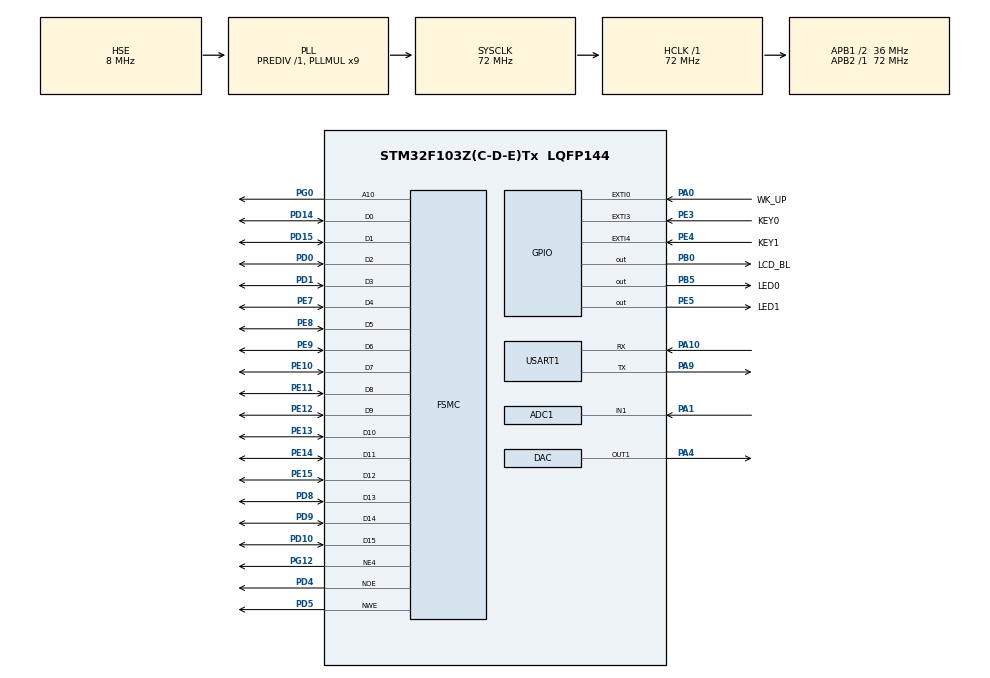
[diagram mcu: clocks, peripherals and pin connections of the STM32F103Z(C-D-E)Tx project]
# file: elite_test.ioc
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ADC1.Channel-1\#ChannelRegularConversion=ADC_CHANNEL_1
ADC1.ContinuousConvMode=DISABLE
ADC1.EnableInjectedConversion=DISABLE
ADC1.ExternalTrigConv=ADC_EXTERNALTRIGCONV_T3_TRGO
ADC1.InjNumberOfConversion=1
ADC1.NbrOfConversionFlag=1
ADC1.Rank-1\#ChannelRegularConversion=1
ADC1.SamplingTime-1\#ChannelRegularConversion=ADC_SAMPLETIME_1CYCLE_5
ADC1.master=1
Dma.ADC1.1.Direction=DMA_PERIPH_TO_MEMORY
Dma.ADC1.1.Instance=DMA1_Channel1
Dma.ADC1.1.MemDataAlignment=DMA_MDATAALIGN_WORD
Dma.ADC1.1.MemInc=DMA_MINC_ENABLE
Dma.ADC1.1.Mode=DMA_NORMAL
Dma.ADC1.1.PeriphDataAlignment=DMA_PDATAALIGN_HALFWORD
Dma.ADC1.1.PeriphInc=DMA_PINC_DISABLE
Dma.ADC1.1.Priority=DMA_PRIORITY_VERY_HIGH
Dma.DAC_CH1.2.Direction=DMA_MEMORY_TO_PERIPH
Dma.DAC_CH1.2.Instance=DMA2_Channel3
Dma.DAC_CH1.2.MemDataAlignment=DMA_MDATAALIGN_HALFWORD
Dma.DAC_CH1.2.MemInc=DMA_MINC_ENABLE
Dma.DAC_CH1.2.Mode=DMA_CIRCULAR
Dma.DAC_CH1.2.PeriphDataAlignment=DMA_PDATAALIGN_HALFWORD
Dma.DAC_CH1.2.PeriphInc=DMA_PINC_DISABLE
Dma.DAC_CH1.2.Priority=DMA_PRIORITY_LOW
Dma.Request0=USART1_RX
Dma.Request1=ADC1
Dma.Request2=DAC_CH1
Dma.USART1_RX.0.Direction=DMA_PERIPH_TO_MEMORY
Dma.USART1_RX.0.Instance=DMA1_Channel5
Dma.USART1_RX.0.MemDataAlignment=DMA_MDATAALIGN_BYTE
Dma.USART1_RX.0.MemInc=DMA_MINC_ENABLE
Dma.USART1_RX.0.Mode=DMA_CIRCULAR
Dma.USART1_RX.0.PeriphDataAlignment=DMA_PDATAALIGN_BYTE
Dma.USART1_RX.0.PeriphInc=DMA_PINC_DISABLE
Dma.USART1_RX.0.Priority=DMA_PRIORITY_LOW
FSMC.AddressSetupTime1=0x06
FSMC.BusTurnAroundDuration1=0
FSMC.DataSetupTime1=26
FSMC.ExtendedAddressSetupTime1=3
FSMC.ExtendedBusTurnAroundDuration1=0
FSMC.ExtendedDataSetupTime1=0x06
FSMC.ExtendedMode1=FSMC_EXTENDED_MODE_ENABLE
Mcu.Family=STM32F1
Mcu.Name=STM32F103Z(C-D-E)Tx
Mcu.Package=LQFP144
NVIC.DMA1_Channel1_IRQn=true\:0\:0\:false\:false\:true\:false\:true\:true
NVIC.DMA1_Channel5_IRQn=true\:0\:0\:false\:false\:true\:false\:true\:true
NVIC.DMA2_Channel3_IRQn=true\:0\:0\:false\:false\:true\:false\:true\:true
NVIC.EXTI0_IRQn=true\:0\:0\:false\:false\:true\:true\:true\:true
NVIC.EXTI3_IRQn=true\:0\:0\:false\:false\:true\:true\:true\:true
NVIC.EXTI4_IRQn=true\:0\:0\:false\:false\:true\:true\:true\:true
NVIC.PriorityGroup=NVIC_PRIORITYGROUP_4
NVIC.TIM6_IRQn=true\:0\:0\:false\:false\:true\:true\:true\:true
NVIC.USART1_IRQn=true\:0\:0\:false\:false\:true\:true\:true\:true
OSC_IN.Mode=HSE-External-Oscillator
OSC_IN.Signal=RCC_OSC_IN
OSC_OUT.Mode=HSE-External-Oscillator
OSC_OUT.Signal=RCC_OSC_OUT
PA0-WKUP.GPIO_Label=WK_UP
PA0-WKUP.GPIO_PuPd=GPIO_PULLDOWN
PA0-WKUP.Signal=GPXTI0
PA1.Signal=ADCx_IN1
PA10.Mode=Asynchronous
PA10.Signal=USART1_RX
PA4.Signal=COMP_DAC1_group
PA9.Mode=Asynchronous
PA9.Signal=USART1_TX
PB0.GPIO_Label=LCD_BL
PB0.GPIO_PuPd=GPIO_PULLUP
PB0.GPIO_Speed=GPIO_SPEED_FREQ_HIGH
PB0.Signal=GPIO_Output
PB5.GPIO_Label=LED0
PB5.GPIO_PuPd=GPIO_PULLUP
PB5.GPIO_Speed=GPIO_SPEED_FREQ_HIGH
PB5.PinState=GPIO_PIN_SET
PB5.Signal=GPIO_Output
PC14-OSC32_IN.Mode=LSE-External-Clock-Source
PC14-OSC32_IN.Signal=RCC_OSC32_IN
PC15-OSC32_OUT.Mode=LSE-External-Clock-Source
PC15-OSC32_OUT.Signal=RCC_OSC32_OUT
PD0.Signal=FSMC_D2_DA2
PD1.Signal=FSMC_D3_DA3
PD10.Signal=FSMC_D15_DA15
PD14.Signal=FSMC_D0_DA0
PD15.Signal=FSMC_D1_DA1
PD4.Signal=FSMC_NOE
PD5.Signal=FSMC_NWE
PD8.Signal=FSMC_D13_DA13
PD9.Signal=FSMC_D14_DA14
PE10.Signal=FSMC_D7_DA7
PE11.Signal=FSMC_D8_DA8
PE12.Signal=FSMC_D9_DA9
PE13.Signal=FSMC_D10_DA10
PE14.Signal=FSMC_D11_DA11
PE15.Signal=FSMC_D12_DA12
PE3.GPIO_Label=KEY0
PE3.GPIO_PuPd=GPIO_PULLUP
PE3.Signal=GPXTI3
PE4.GPIO_Label=KEY1
PE4.GPIO_PuPd=GPIO_PULLUP
PE4.Signal=GPXTI4
PE5.GPIO_Label=LED1
PE5.GPIO_PuPd=GPIO_PULLUP
PE5.GPIO_Speed=GPIO_SPEED_FREQ_HIGH
PE5.PinState=GPIO_PIN_SET
PE5.Signal=GPIO_Output
PE7.Signal=FSMC_D4_DA4
PE8.Signal=FSMC_D5_DA5
PE9.Signal=FSMC_D6_DA6
PG0.Signal=FSMC_A10
PG12.Mode=NorPsramChipSelect4_1
PG12.Signal=FSMC_NE4
ProjectManager.HeapSize=0x200
ProjectManager.StackSize=0x400
ProjectManager.TargetToolchain=MDK-ARM V5
RCC.ADCPresc=RCC_ADCPCLK2_DIV6
RCC.AHBFreq_Value=72000000
RCC.APB1CLKDivider=RCC_HCLK_DIV2
RCC.APB1Freq_Value=36000000
RCC.APB1TimFreq_Value=72000000
RCC.APB2Freq_Value=72000000
RCC.APB2TimFreq_Value=72000000
RCC.HCLKFreq_Value=72000000
RCC.PLLMUL=RCC_PLL_MUL9
RCC.PLLSourceVirtual=RCC_PLLSOURCE_HSE
RCC.SYSCLKFreq_VALUE=72000000
RCC.SYSCLKSource=RCC_SYSCLKSOURCE_PLLCLK
RCC.USBFreq_Value=72000000
SH.ADCx_IN1.0=ADC1_IN1,IN1
SH.COMP_DAC1_group.0=DAC_OUT1,DAC_OUT1
SH.FSMC_A10.0=FSMC_A10,A10_1
SH.FSMC_D0_DA0.0=FSMC_D0,16b-d1
SH.FSMC_D10_DA10.0=FSMC_D10,16b-d1
SH.FSMC_D11_DA11.0=FSMC_D11,16b-d1
SH.FSMC_D12_DA12.0=FSMC_D12,16b-d1
SH.FSMC_D13_DA13.0=FSMC_D13,16b-d1
SH.FSMC_D14_DA14.0=FSMC_D14,16b-d1
SH.FSMC_D15_DA15.0=FSMC_D15,16b-d1
SH.FSMC_D1_DA1.0=FSMC_D1,16b-d1
SH.FSMC_D2_DA2.0=FSMC_D2,16b-d1
SH.FSMC_D3_DA3.0=FSMC_D3,16b-d1
SH.FSMC_D4_DA4.0=FSMC_D4,16b-d1
SH.FSMC_D5_DA5.0=FSMC_D5,16b-d1
SH.FSMC_D6_DA6.0=FSMC_D6,16b-d1
SH.FSMC_D7_DA7.0=FSMC_D7,16b-d1
SH.FSMC_D8_DA8.0=FSMC_D8,16b-d1
SH.FSMC_D9_DA9.0=FSMC_D9,16b-d1
SH.FSMC_NOE.0=FSMC_NOE,Lcd1
SH.FSMC_NWE.0=FSMC_NWE,Lcd1
TIM3.AutoReloadPreload=TIM_AUTORELOAD_PRELOAD_ENABLE
TIM3.Period=1000-1
TIM3.Prescaler=28-1
TIM3.TIM_MasterOutputTrigger=TIM_TRGO_UPDATE
TIM6.AutoReloadPreload=TIM_AUTORELOAD_PRELOAD_ENABLE
TIM6.Period=1000-1
TIM6.Prescaler=72-1
TIM7.Period=65535
TIM7.Prescaler=72-1
USART1.VirtualMode=VM_ASYNC
VP_SYS_VS_ND.Mode=No_Debug
VP_TIM3_VS_ClockSourceINT.Mode=Internal
VP_TIM6_VS_ClockSourceINT.Mode=Enable_Timer
VP_TIM7_VS_ClockSourceINT.Mode=Enable_Timer
board=custom

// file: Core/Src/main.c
/* USER CODE BEGIN Header */
/**
  ******************************************************************************
  * @file           : main.c
  * @brief          : Main program body
  ******************************************************************************
  * @attention
  *
  * Copyright (c) 2023 STMicroelectronics.
  * All rights reserved.
  *
  * This software is licensed under terms that can be found in the LICENSE file
  * in the root directory of this software component.
  * If no LICENSE file comes with this software, it is provided AS-IS.
  *
  ******************************************************************************
  */
/* USER CODE END Header */
#include "main.h"
#include "adc.h"
#include "dac.h"
#include "dma.h"
#include "tim.h"
#include "usart.h"
#include "gpio.h"
#include "fsmc.h"

/* USER CODE BEGIN PV */
uint32_t F=10000000;  		// 设置正弦波的频率（1~100MHz）
uint16_t A=4095;			// 设置正弦波的幅度（0~4095）        816为100mV输出

key_t Key0, Key1, Key2;
extern int dacval;
/* USER CODE END PV */

void SystemClock_Config(void);

int main(void)
{

  /* MCU Configuration--------------------------------------------------------*/

  /* Reset of all peripherals, Initializes the Flash interface and the Systick. */
  HAL_Init();

  /* Configure the system clock */
  SystemClock_Config();

  /* Initialize all configured peripherals */
  MX_GPIO_Init();
  MX_DMA_Init();
  MX_TIM6_Init();
  MX_TIM7_Init();
  MX_USART1_UART_Init();
  MX_FSMC_Init();
  MX_ADC1_Init();
  MX_DAC_Init();
  MX_TIM3_Init();
  /* USER CODE BEGIN 2 */

	Key0.keyFlag = 0;
	Key1.keyFlag = 0;
	Key2.keyFlag = 0;
	Key0.keyState = KEY_COMFIRM;
	Key1.keyState = KEY_CHECK;
	Key2.keyState = KEY_CHECK;

	HAL_TIM_Base_Start(&htim3);
	HAL_TIM_Base_Start_IT(&htim6);

	HAL_ADCEx_Calibration_Start(&hadc1);
	HAL_ADC_Start(&hadc1);
	HAL_DAC_Start(&hdac,DAC_CHANNEL_1);  			//开启DAC通道1
	HAL_DAC_SetValue(&hdac,DAC_CHANNEL_1,DAC_ALIGN_12B_R,dacval);//初始值为0

	GPIO_AD9854_Configuration(); // AD9854IO口初始化
	delay_ms(5);
	AD9854_Init ();
	AD9851_Init(1, 1);
	AD9851_Setfq(10000);
//	AD9854_SetSine(F, A);
	double Fre_test = 10000000.000;
	AD9854_SetSine_double(Fre_test, 4095);
//	AD9851_Init ();
//	delay_ms(5);
//	AD9851_Setfq(7000000);

//	delay_ms(10);
//	AD9954_Init();
//	AD9954_SETFRE(10000);
//	Write_ASF(0x300);

	LCD_Init();
//	tp_dev.init();

	LCD_Clear(WHITE);	//清屏
//	TP_Adjust();  		//屏幕校准

  /* USER CODE END 2 */

  /* Infinite loop */
  /* USER CODE BEGIN WHILE */
//	printf("初始化完成");

	while (1)
  {
//		tp_dev.scan(0);
		delay_ms(5);
    /* USER CODE END WHILE */

  }
}

void SystemClock_Config(void)
{
  RCC_OscInitTypeDef RCC_OscInitStruct = {0};
  RCC_ClkInitTypeDef RCC_ClkInitStruct = {0};
  RCC_PeriphCLKInitTypeDef PeriphClkInit = {0};

  /** Initializes the RCC Oscillators according to the specified parameters
  * in the RCC_OscInitTypeDef structure.
  */
  RCC_OscInitStruct.OscillatorType = RCC_OSCILLATORTYPE_HSE;
  RCC_OscInitStruct.HSEState = RCC_HSE_ON;
  RCC_OscInitStruct.HSEPredivValue = RCC_HSE_PREDIV_DIV1;
  RCC_OscInitStruct.HSIState = RCC_HSI_ON;
  RCC_OscInitStruct.PLL.PLLState = RCC_PLL_ON;
  RCC_OscInitStruct.PLL.PLLSource = RCC_PLLSOURCE_HSE;
  RCC_OscInitStruct.PLL.PLLMUL = RCC_PLL_MUL9;
  if (HAL_RCC_OscConfig(&RCC_OscInitStruct) != HAL_OK)
  {
    Error_Handler();
  }

  /** Initializes the CPU, AHB and APB buses clocks
  */
  RCC_ClkInitStruct.ClockType = RCC_CLOCKTYPE_HCLK|RCC_CLOCKTYPE_SYSCLK
                              |RCC_CLOCKTYPE_PCLK1|RCC_CLOCKTYPE_PCLK2;
  RCC_ClkInitStruct.SYSCLKSource = RCC_SYSCLKSOURCE_PLLCLK;
  RCC_ClkInitStruct.AHBCLKDivider = RCC_SYSCLK_DIV1;
  RCC_ClkInitStruct.APB1CLKDivider = RCC_HCLK_DIV2;
  RCC_ClkInitStruct.APB2CLKDivider = RCC_HCLK_DIV1;

  if (HAL_RCC_ClockConfig(&RCC_ClkInitStruct, FLASH_LATENCY_2) != HAL_OK)
  {
    Error_Handler();
  }
  PeriphClkInit.PeriphClockSelection = RCC_PERIPHCLK_ADC;
  PeriphClkInit.AdcClockSelection = RCC_ADCPCLK2_DIV6;
  if (HAL_RCCEx_PeriphCLKConfig(&PeriphClkInit) != HAL_OK)
  {
    Error_Handler();
  }
}

void Error_Handler(void)
{
  __disable_irq();
  while (1)
  {
  }
}
